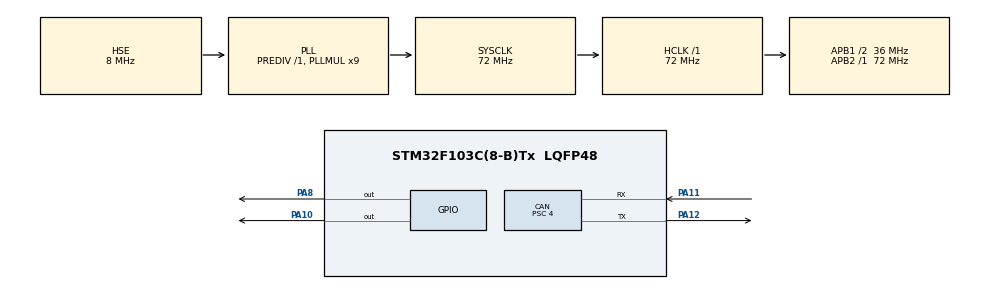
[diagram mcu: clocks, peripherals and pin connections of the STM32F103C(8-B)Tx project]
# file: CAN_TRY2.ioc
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CAN.BS1=CAN_BS1_4TQ
CAN.BS2=CAN_BS2_4TQ
CAN.CalculateBaudRate=1000000
CAN.CalculateTimeBit=1000
CAN.CalculateTimeQuantum=111.11111111111111
CAN.Mode=CAN_MODE_LOOPBACK
CAN.Prescaler=4
FREERTOS.Tasks01=defaultTask,24,128,StartDefaultTask,Default,NULL,Dynamic,NULL,NULL
Mcu.Family=STM32F1
Mcu.Name=STM32F103C(8-B)Tx
Mcu.Package=LQFP48
NVIC.CAN1_RX1_IRQn=true\:5\:0\:false\:false\:true\:true\:true\:true\:true
NVIC.PriorityGroup=NVIC_PRIORITYGROUP_4
NVIC.TIM4_IRQn=true\:15\:0\:false\:false\:true\:false\:false\:true\:true
NVIC.TimeBase=TIM4_IRQn
NVIC.TimeBaseIP=TIM4
NVIC.USB_HP_CAN1_TX_IRQn=true\:5\:0\:false\:false\:true\:true\:true\:true\:true
NVIC.USB_LP_CAN1_RX0_IRQn=true\:5\:0\:false\:false\:true\:true\:true\:true\:true
PA10.GPIO_ModeDefaultOutputPP=GPIO_MODE_OUTPUT_PP
PA10.GPIO_PuPd=GPIO_PULLDOWN
PA10.PinState=GPIO_PIN_RESET
PA10.Signal=GPIO_Output
PA11.Mode=CAN_Activate
PA11.Signal=CAN_RX
PA12.Mode=CAN_Activate
PA12.Signal=CAN_TX
PA13.Mode=Serial_Wire
PA13.Signal=SYS_JTMS-SWDIO
PA14.Mode=Serial_Wire
PA14.Signal=SYS_JTCK-SWCLK
PA8.GPIO_ModeDefaultOutputPP=GPIO_MODE_OUTPUT_PP
PA8.GPIO_PuPd=GPIO_PULLDOWN
PA8.PinState=GPIO_PIN_RESET
PA8.Signal=GPIO_Output
PD0-OSC_IN.Mode=HSE-External-Oscillator
PD0-OSC_IN.Signal=RCC_OSC_IN
PD1-OSC_OUT.Mode=HSE-External-Oscillator
PD1-OSC_OUT.Signal=RCC_OSC_OUT
ProjectManager.HeapSize=0x200
ProjectManager.StackSize=0x400
ProjectManager.TargetToolchain=MDK-ARM V5.32
RCC.AHBFreq_Value=72000000
RCC.APB1CLKDivider=RCC_HCLK_DIV2
RCC.APB1Freq_Value=36000000
RCC.APB1TimFreq_Value=72000000
RCC.APB2Freq_Value=72000000
RCC.APB2TimFreq_Value=72000000
RCC.HCLKFreq_Value=72000000
RCC.PLLMUL=RCC_PLL_MUL9
RCC.PLLSourceVirtual=RCC_PLLSOURCE_HSE
RCC.SYSCLKFreq_VALUE=72000000
RCC.SYSCLKSource=RCC_SYSCLKSOURCE_PLLCLK
RCC.USBFreq_Value=72000000
VP_FREERTOS_VS_CMSIS_V2.Mode=CMSIS_V2
VP_SYS_VS_tim4.Mode=TIM4
board=custom

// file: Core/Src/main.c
/* USER CODE BEGIN Header */
/**
  ******************************************************************************
  * @file           : main.c
  * @brief          : Main program body
  ******************************************************************************
  * @attention
  *
  * Copyright (c) 2025 STMicroelectronics.
  * All rights reserved.
  *
  * This software is licensed under terms that can be found in the LICENSE file
  * in the root directory of this software component.
  * If no LICENSE file comes with this software, it is provided AS-IS.
  *
  ******************************************************************************
  */
/* USER CODE END Header */
#include "main.h"
#include "cmsis_os.h"
#include "can.h"
#include "gpio.h"

void SystemClock_Config(void);
void MX_FREERTOS_Init(void);

int main(void)
{

  /* MCU Configuration--------------------------------------------------------*/

  /* Reset of all peripherals, Initializes the Flash interface and the Systick. */
  HAL_Init();

  /* Configure the system clock */
  SystemClock_Config();

  /* Initialize all configured peripherals */
  MX_GPIO_Init();
  MX_CAN_Init();

  /* Init scheduler */
  osKernelInitialize();  /* Call init function for freertos objects (in cmsis_os2.c) */
  MX_FREERTOS_Init();

  /* Start scheduler */
  osKernelStart();

  /* We should never get here as control is now taken by the scheduler */

  /* Infinite loop */
  while (1)
  {

  }
}

void SystemClock_Config(void)
{
  RCC_OscInitTypeDef RCC_OscInitStruct = {0};
  RCC_ClkInitTypeDef RCC_ClkInitStruct = {0};

  /** Initializes the RCC Oscillators according to the specified parameters
  * in the RCC_OscInitTypeDef structure.
  */
  RCC_OscInitStruct.OscillatorType = RCC_OSCILLATORTYPE_HSE;
  RCC_OscInitStruct.HSEState = RCC_HSE_ON;
  RCC_OscInitStruct.HSEPredivValue = RCC_HSE_PREDIV_DIV1;
  RCC_OscInitStruct.HSIState = RCC_HSI_ON;
  RCC_OscInitStruct.PLL.PLLState = RCC_PLL_ON;
  RCC_OscInitStruct.PLL.PLLSource = RCC_PLLSOURCE_HSE;
  RCC_OscInitStruct.PLL.PLLMUL = RCC_PLL_MUL9;
  if (HAL_RCC_OscConfig(&RCC_OscInitStruct) != HAL_OK)
  {
    Error_Handler();
  }

  /** Initializes the CPU, AHB and APB buses clocks
  */
  RCC_ClkInitStruct.ClockType = RCC_CLOCKTYPE_HCLK|RCC_CLOCKTYPE_SYSCLK
                              |RCC_CLOCKTYPE_PCLK1|RCC_CLOCKTYPE_PCLK2;
  RCC_ClkInitStruct.SYSCLKSource = RCC_SYSCLKSOURCE_PLLCLK;
  RCC_ClkInitStruct.AHBCLKDivider = RCC_SYSCLK_DIV1;
  RCC_ClkInitStruct.APB1CLKDivider = RCC_HCLK_DIV2;
  RCC_ClkInitStruct.APB2CLKDivider = RCC_HCLK_DIV1;

  if (HAL_RCC_ClockConfig(&RCC_ClkInitStruct, FLASH_LATENCY_2) != HAL_OK)
  {
    Error_Handler();
  }
}

void HAL_TIM_PeriodElapsedCallback(TIM_HandleTypeDef *htim)
{
  if (htim->Instance == TIM4)
  {
    HAL_IncTick();
  }
}

void Error_Handler(void)
{
  __disable_irq();
  while (1)
  {
  }
}

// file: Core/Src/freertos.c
/* USER CODE BEGIN Header */
/**
  ******************************************************************************
  * File Name          : freertos.c
  * Description        : Code for freertos applications
  ******************************************************************************
  * @attention
  *
  * Copyright (c) 2025 STMicroelectronics.
  * All rights reserved.
  *
  * This software is licensed under terms that can be found in the LICENSE file
  * in the root directory of this software component.
  * If no LICENSE file comes with this software, it is provided AS-IS.
  *
  ******************************************************************************
  */
/* USER CODE END Header */

#include "FreeRTOS.h"
#include "task.h"
#include "main.h"
#include "cmsis_os.h"

/* USER CODE BEGIN Includes */
#include "can.h"
/* USER CODE END Includes */

/* USER CODE BEGIN Variables */
CAN_TxHeaderTypeDef TxHeader;
CAN_RxHeaderTypeDef RxHeader;
uint8_t CAN_TxData[2] = {0};
uint8_t RxData[2];
uint32_t TxMailBox;
int dmaState = 0;
/* USER CODE END Variables */
/* Definitions for defaultTask */
osThreadId_t defaultTaskHandle;
const osThreadAttr_t defaultTask_attributes = {
  .name = "defaultTask",
  .stack_size = 128 * 4,
  .priority = (osPriority_t) osPriorityNormal,
};

/* USER CODE BEGIN FunctionPrototypes */
void CAN_SendData(void);
void HAL_CAN_RxFifo0MsgPendingCallback(CAN_HandleTypeDef *hcan);
void CAN_Filter_Init(void);
void CANTask(void *parames);
void dataDealTask(void *parames);
/* USER CODE END FunctionPrototypes */

void StartDefaultTask(void *argument);

void MX_FREERTOS_Init(void); /* (MISRA C 2004 rule 8.1) */

void MX_FREERTOS_Init(void) {

  /* Create the thread(s) */
  /* creation of defaultTask */
  defaultTaskHandle = osThreadNew(StartDefaultTask, NULL, &defaultTask_attributes);

  /* USER CODE BEGIN RTOS_THREADS */
  /* add threads, ... */
	xTaskCreate(CANTask,"CanTask",256,NULL,osPriorityNormal,NULL);
	xTaskCreate(dataDealTask,"dataDealTask",256,NULL,osPriorityNormal,NULL);
  /* USER CODE END RTOS_THREADS */

}

void StartDefaultTask(void *argument)
{
  for(;;)
  {
    osDelay(1);
  }
}

/* USER CODE BEGIN Application */
void CAN_SendData(void){
	uint32_t lastLightOffTime = HAL_GetTick();
	uint32_t current_time;
	for (int i = 0;i < 5;i++)
	{
		current_time = HAL_GetTick();
		if (current_time - lastLightOffTime < 2000) vTaskDelay(2000 - (current_time - lastLightOffTime));
		TxHeader.StdId = 0x300 + i;         // 标准帧id
		TxHeader.DLC = 2;  							// 数据长度
		TxHeader.ExtId = 0;							// 扩展帧id
		TxHeader.IDE = CAN_ID_STD;      // 标准帧还是扩展帧
		TxHeader.RTR = CAN_RTR_DATA;	 // 是标准帧还是远程帧
		if(HAL_CAN_AddTxMessage(&hcan,&TxHeader,CAN_TxData,&TxMailBox) != HAL_OK){
		/* 有时间写个错误处理 */
		};
		lastLightOffTime = HAL_GetTick();
	}
}
// 收到数据后存到RxHeader和RxData
void HAL_CAN_RxFifo0MsgPendingCallback(CAN_HandleTypeDef* hcan){
  HAL_CAN_GetRxMessage(hcan, CAN_RX_FIFO0, &RxHeader, RxData);
	UBaseType_t uxSavedInterruptStatus; //创建变量
	uxSavedInterruptStatus = taskENTER_CRITICAL_FROM_ISR();
	dmaState = 1;
	taskEXIT_CRITICAL_FROM_ISR(uxSavedInterruptStatus);
}
// 三个邮箱发送完数据后的中断,这里用来发送下一轮数据
void CAN_Filter_Init(void) {
    CAN_FilterTypeDef sFilterConfig;      								// 定义过滤器
    sFilterConfig.FilterBank = 0;										// 过滤器组编号
    sFilterConfig.FilterFIFOAssignment = CAN_FILTER_FIFO0 ;			   // 匹配成功后消息存入哪个fifo
    sFilterConfig.FilterIdHigh = 0x0000;			    	// 过滤器id高16位    期望收到数据的id
    sFilterConfig.FilterIdLow = 0x0000;									// 过滤器id低16位
    sFilterConfig.FilterMaskIdHigh = 0x0000;							// 过滤器掩码高16位  掩码告诉你哪些位需要严格匹配
    sFilterConfig.FilterMaskIdLow = 0x0000;								// 过滤器掩码低16位
    sFilterConfig.FilterMode = CAN_FILTERMODE_IDMASK;					// 过滤器模式(掩码模式/列表模式)
    sFilterConfig.FilterScale = CAN_FILTERSCALE_32BIT;					// 过滤器位宽(用32位过滤器还是16位)
    sFilterConfig.SlaveStartFilterBank = 14;							// 划分主,从过滤器(一共14个),主从can1接收,从can2
	  sFilterConfig.FilterActivation = ENABLE;							// 过滤器使能
    HAL_CAN_ConfigFilter(&hcan, &sFilterConfig);						// 配置过滤器
	  uint32_t can_it = CAN_IT_RX_FIFO0_MSG_PENDING | CAN_IT_TX_MAILBOX_EMPTY;
    HAL_CAN_ActivateNotification(&hcan, can_it);                // 激活can中断
    HAL_CAN_Start(&hcan);        // 启动can
		HAL_CAN_GetState(&hcan);     // 获取can状态
		vTaskDelay(10);
}
void CANTask(void *parames){
	CAN_Filter_Init();				//初始化外设
	for(;;){
		CAN_SendData();
		vTaskDelay(50);
	}
}
void dataDealTask(void *parames)
{
	for (;;)
	{
		taskENTER_CRITICAL();
		if (dmaState == 1)
		{
			taskEXIT_CRITICAL();
			switch (RxHeader.StdId)
			{
			case 0x300:
				HAL_GPIO_WritePin(GPIOA,GPIO_PIN_8,GPIO_PIN_SET);
				vTaskDelay(1000);
				HAL_GPIO_WritePin(GPIOA,GPIO_PIN_8,GPIO_PIN_RESET);
				break;
			case 0x301:
				HAL_GPIO_WritePin(GPIOA,GPIO_PIN_10,GPIO_PIN_SET);
				vTaskDelay(1000);
				HAL_GPIO_WritePin(GPIOA,GPIO_PIN_10,GPIO_PIN_RESET);
				break;
			case 0x303:
				HAL_GPIO_WritePin(GPIOA,GPIO_PIN_8 | GPIO_PIN_10,GPIO_PIN_SET);
				vTaskDelay(1000);
				HAL_GPIO_WritePin(GPIOA,GPIO_PIN_8 | GPIO_PIN_10,GPIO_PIN_RESET);
				break;
			}
			taskENTER_CRITICAL();
			dmaState = 0;
			taskEXIT_CRITICAL();
		}
		else taskEXIT_CRITICAL();
		vTaskDelay(50);
	}
}
/* USER CODE END Application */
